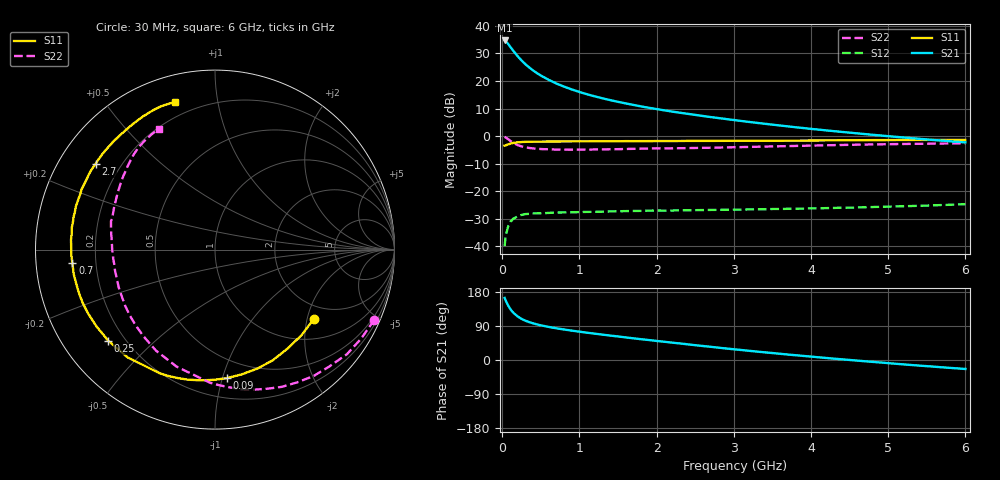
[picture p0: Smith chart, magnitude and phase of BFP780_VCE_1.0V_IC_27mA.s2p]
! Infineon Technologies  Discrete & RF Semiconductors
! BFP780
! VCE =  1.0 V,  IC =  27 mA
! Common Emitter S-Parameters:  Jul 2015
# GHz  S  MA  R  50
!  f  S11  S21  S12  S22
! GHz  MAG  ANG  MAG  ANG  MAG  ANG  MAG  ANG
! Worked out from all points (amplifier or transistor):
!   75 points, 30 MHz to 6 GHz, reference 50 ohm
!   highest |S21| = 34.7 dB at 30 MHz (marker M1)
!   |S21| within 3 dB of that: start of sweep to 122.2 MHz
!   unconditionally stable (mu >= 1): 2.241 GHz to end of sweep
!   at 150 MHz: K = 0.08, MSG = 30.3 dB, |S12| = -29.9 dB
!   at 2.3 GHz: K = 1.02, MAG = 16.9 dB, |S12| = -26.9 dB
!   at 6 GHz: K = 1.68, MAG = 6.4 dB, |S12| = -24.7 dB
!   S11 on the Smith chart (normalised r, x): 30 MHz: 1.57, -2.20; 90 MHz: 0.35, -1.03; 250 MHz: 0.14, -0.36; 700 MHz: 0.11, -0.05; 2.7 GHz: 0.11, +0.32; 6 GHz: 0.13, +0.76
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0.03  0.6726 -34.9  54.34 163.9  0.0101 76.4  0.9701 -23.8
0.05  0.6839 -53.9  51.57 154.3  0.017 70.0  0.9381 -38.4
0.06  0.6956 -62.5  49.93 150.3  0.0188 61.1  0.9111 -45.6
0.08  0.711 -77.9  46.17 142.5  0.0238 53.6  0.8701 -58.2
0.09  0.7192 -84.7  44.2 139.0  0.0251 52.5  0.8502 -64.1
0.12  0.7401 -101.6  38.83 130.2  0.0292 44.0  0.7917 -79.5
0.15  0.7549 -114.1  34.25 123.4  0.0321 37.5  0.7429 -92.0
0.2  0.7733 -129.1  28.04 114.8  0.0353 31.1  0.6861 -108.2
0.25  0.7817 -139.5  23.56 108.5  0.0373 25.4  0.6518 -120.3
0.3  0.7871 -147.2  20.11 103.7  0.0386 21.8  0.6258 -129.7
0.4  0.7944 -157.7  15.49 96.7  0.0396 17.6  0.5987 -142.9
0.5  0.7958 -164.9  12.54 91.5  0.0399 14.3  0.5831 -152.0
0.7  0.798 -174.5  9.019 83.7  0.0411 11.5  0.5701 -163.9
0.9  0.8016 178.9  7.027 77.5  0.0416 9.9  0.5671 -171.8
1.1  0.8032 173.5  5.732 72.0  0.0423 9.2  0.5696 -177.8
1.5  0.8082 165.0  4.184 62.1  0.0434 8.0  0.5802 173.4
2.1  0.815 154.2  2.933 48.1  0.0446 6.2  0.5981 163.4
2.7  0.8186 144.4  2.218 34.8  0.0459 5.1  0.6163 153.9
3.1  0.8234 138.2  1.881 26.3  0.0465 4.6  0.6331 147.8
4.1  0.8342 124.2  1.312 7.1  0.0491 3.9  0.6773 135.2
5.1  0.8505 113.2  0.971 -10.0  0.0531 3.0  0.7174 124.5
6  0.8521 105.1  0.77 -23.7  0.0583 0.8  0.7426 114.9
